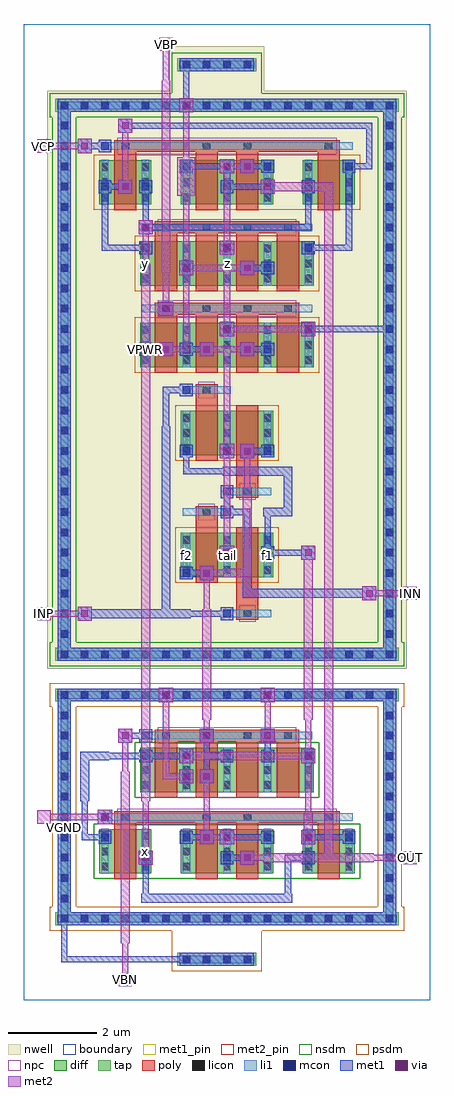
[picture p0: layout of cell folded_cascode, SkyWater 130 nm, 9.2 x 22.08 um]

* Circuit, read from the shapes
.subckt folded_cascode INN INP OUT VBN VBP VCN VCP VGND VPWR f1 f2 tail x y z
XM1 x VCN f1 VGND sky130_fd_pr__nfet_01v8 w=1 l=0.5 m=2
XM2 VGND VBN f1 VGND sky130_fd_pr__nfet_01v8 w=1 l=0.5 m=2
XM3 OUT VCN f2 VGND sky130_fd_pr__nfet_01v8 w=1 l=0.5 m=2
XM4 f2 VBN VGND VGND sky130_fd_pr__nfet_01v8 w=1 l=0.5 m=2
XM5 x VCP y VPWR sky130_fd_pr__pfet_01v8 w=1 l=0.5 m=2
XM6 tail VBP VPWR VPWR sky130_fd_pr__pfet_01v8 w=1 l=0.5 m=4
XM7 VPWR x y VPWR sky130_fd_pr__pfet_01v8 w=1 l=0.5 m=2
XM8 tail INN f2 VPWR sky130_fd_pr__pfet_01v8 w=1 l=0.5 m=2
XM9 tail INP f1 VPWR sky130_fd_pr__pfet_01v8 w=1 l=0.5 m=2
XM10 z x VPWR VPWR sky130_fd_pr__pfet_01v8 w=1 l=0.5 m=2
XM11 OUT VCP z VPWR sky130_fd_pr__pfet_01v8 w=1 l=0.5 m=2
.ends

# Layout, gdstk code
import gdstk
lib = gdstk.Library(unit=1e-6, precision=1e-09)
def R(c, l, rs):  # rectangles x0, y0, x1, y1
    for r in rs: c.add(gdstk.rectangle(r[:2], r[2:], *l))
def A(c, l, x, y, w, h, nx, ny, dx, dy):  # array of equal rectangles
    R(c, l, [(x+i*dx, y+j*dy, x+i*dx+w, y+j*dy+h) for i in range(nx) for j in range(ny)])
nwell = (64, 20)
diff = (65, 20)
tap = (65, 44)
poly = (66, 20)
licon = (66, 44)
li1 = (67, 20)
mcon = (67, 44)
met1_pin = (68, 16)
met1 = (68, 20)
via = (68, 44)
met2_pin = (69, 16)
met2 = (69, 20)
nsdm = (93, 44)
psdm = (94, 20)
npc = (95, 20)
boundary = (235, 4)

folded_cascode = lib.new_cell('folded_cascode')
R(folded_cascode, nwell, [(0.535,7.495,8.665,20.565), (3.295,20.565,5.445,21.58)])
R(folded_cascode, diff, [(1.715,2.865,2.885,3.865), (3.555,2.865,5.645,3.865), (6.315,2.865,7.485,3.865), (2.635,4.705,6.565,5.705), (3.555,9.565,5.645,10.565), (3.555,12.325,5.645,13.325), (2.635,14.32,6.565,15.32), (2.635,16.16,6.565,17.16), (1.715,18,2.885,19), (3.555,18,5.645,19), (6.315,18,7.485,19)])
R(folded_cascode, tap, [(3.475,0.775,5.265,1.065), (0.715,1.695,8.485,1.985), (0.775,1.695,1.065,7.045), (8.135,1.695,8.425,7.045), (0.715,6.755,8.485,7.045), (0.715,7.675,8.485,7.965), (0.775,7.675,1.065,20.385), (8.135,7.675,8.425,20.385), (0.715,20.095,8.485,20.385), (3.475,21.015,5.265,21.305)])
A(folded_cascode, poly, 2.97, 4.575, 0.5, 1.405, 4, 1, 0.92, 0)
A(folded_cascode, poly, 2.97, 14.19, 0.5, 1.45, 4, 2, 0.92, 1.84)
R(folded_cascode, poly, [(2.05,2.735,2.55,4.14), (3.89,2.735,4.39,4.14), (4.81,2.735,5.31,4.14), (6.65,2.735,7.15,4.14), (2.05,4.005,7.15,4.275), (2.97,5.845,6.23,6.115), (4.81,8.605,5.31,8.875), (4.81,8.74,5.31,10.695), (3.89,9.435,4.39,11.04), (3.89,10.905,4.39,11.175), (4.81,11.365,5.31,11.635), (4.81,11.5,5.31,13.455), (3.89,12.195,4.39,13.8), (3.89,13.665,4.39,13.935), (2.97,15.505,6.23,15.775), (2.97,17.345,6.23,17.615), (2.05,17.87,2.55,19.32), (3.89,17.87,4.39,19.32), (4.81,17.87,5.31,19.32), (6.65,17.87,7.15,19.32), (2.05,19.185,7.15,19.455)])
A(folded_cascode, licon, 3.595, 0.835, 0.17, 0.17, 4, 2, 0.46, 20.24)
A(folded_cascode, licon, 0.835, 1.755, 0.17, 0.17, 17, 2, 0.46, 5.06)
A(folded_cascode, licon, 0.835, 2.215, 0.17, 0.17, 1, 10, 0, 0.46)
A(folded_cascode, licon, 8.195, 2.215, 0.17, 0.17, 1, 10, 0, 0.46)
A(folded_cascode, licon, 1.755, 2.94, 0.17, 0.17, 7, 3, 0.92, 0.34)
A(folded_cascode, licon, 2.675, 4.78, 0.17, 0.17, 5, 3, 0.92, 0.34)
A(folded_cascode, licon, 3.135, 5.895, 0.17, 0.17, 4, 2, 0.92, 9.66)
A(folded_cascode, licon, 0.835, 7.735, 0.17, 0.17, 17, 2, 0.46, 12.42)
A(folded_cascode, licon, 0.835, 8.195, 0.17, 0.17, 1, 26, 0, 0.46)
A(folded_cascode, licon, 8.195, 8.195, 0.17, 0.17, 1, 26, 0, 0.46)
A(folded_cascode, licon, 3.595, 9.64, 0.17, 0.17, 3, 3, 0.92, 0.34)
A(folded_cascode, licon, 3.595, 12.4, 0.17, 0.17, 3, 3, 0.92, 0.34)
A(folded_cascode, licon, 2.675, 14.395, 0.17, 0.17, 5, 3, 0.92, 0.34)
A(folded_cascode, licon, 2.675, 16.235, 0.17, 0.17, 5, 3, 0.92, 0.34)
A(folded_cascode, licon, 3.135, 17.395, 0.17, 0.17, 4, 1, 0.92, 0)
A(folded_cascode, licon, 1.755, 18.075, 0.17, 0.17, 7, 3, 0.92, 0.34)
R(folded_cascode, licon, [(2.215,4.055,2.385,4.225), (4.055,4.055,4.225,4.225), (4.975,4.055,5.145,4.225), (6.815,4.055,6.985,4.225), (4.975,8.655,5.145,8.825), (4.055,10.955,4.225,11.125), (4.975,11.415,5.145,11.585), (4.055,13.715,4.225,13.885), (2.215,19.235,2.385,19.405), (4.055,19.235,4.225,19.405), (4.975,19.235,5.145,19.405), (6.815,19.235,6.985,19.405)])
A(folded_cascode, li1, 1.755, 2.86, 0.17, 1.01, 7, 2, 0.92, 15.135)
A(folded_cascode, li1, 2.675, 4.7, 0.17, 1.01, 5, 2, 0.92, 9.615)
A(folded_cascode, li1, 3.595, 9.56, 0.17, 1.01, 3, 2, 0.92, 2.76)
A(folded_cascode, li1, 2.675, 16.155, 0.17, 1.01, 5, 1, 0.92, 0)
R(folded_cascode, li1, [(3.515,0.835,5.225,1.005), (0.755,1.755,8.445,1.925), (0.835,1.755,1.005,6.985), (8.195,1.755,8.365,6.985), (1.755,4.055,7.445,4.225), (2.675,5.895,6.525,6.065), (0.755,6.815,8.445,6.985), (0.755,7.735,8.445,7.905), (0.835,7.735,1.005,20.325), (8.195,7.735,8.365,20.325), (4.515,8.655,5.605,8.825), (3.595,10.955,4.685,11.125), (4.515,11.415,5.605,11.585), (3.595,13.715,4.685,13.885), (2.675,15.555,6.525,15.725), (2.675,17.395,6.525,17.565), (1.755,19.235,7.445,19.405), (0.755,20.155,8.445,20.325), (3.515,21.075,5.225,21.245)])
A(folded_cascode, mcon, 3.595, 0.835, 0.17, 0.17, 4, 2, 0.46, 20.24)
A(folded_cascode, mcon, 0.835, 1.755, 0.17, 0.17, 17, 2, 0.46, 5.06)
A(folded_cascode, mcon, 0.835, 3.135, 0.17, 0.17, 5, 2, 1.84, 13.8)
A(folded_cascode, mcon, 0.835, 3.595, 0.17, 0.17, 1, 4, 0, 0.46)
A(folded_cascode, mcon, 1.755, 3.595, 0.17, 0.17, 4, 1, 1.84, 0)
A(folded_cascode, mcon, 8.195, 3.595, 0.17, 0.17, 1, 7, 0, 0.46)
A(folded_cascode, mcon, 0.835, 5.435, 0.17, 0.17, 3, 1, 1.84, 0)
A(folded_cascode, mcon, 5.435, 5.435, 0.17, 0.17, 1, 3, 0, 4.6)
A(folded_cascode, mcon, 0.835, 7.735, 0.17, 0.17, 17, 2, 0.46, 12.42)
A(folded_cascode, mcon, 0.835, 8.655, 0.17, 0.17, 3, 2, 3.68, 2.3)
A(folded_cascode, mcon, 0.835, 9.115, 0.17, 0.17, 1, 4, 0, 0.46)
A(folded_cascode, mcon, 8.195, 9.115, 0.17, 0.17, 1, 4, 0, 0.46)
A(folded_cascode, mcon, 0.835, 11.415, 0.17, 0.17, 3, 1, 3.68, 0)
A(folded_cascode, mcon, 0.835, 11.875, 0.17, 0.17, 1, 11, 0, 0.46)
A(folded_cascode, mcon, 8.195, 11.875, 0.17, 0.17, 1, 7, 0, 0.46)
A(folded_cascode, mcon, 3.595, 12.335, 0.17, 0.17, 3, 1, 0.92, 0)
A(folded_cascode, mcon, 4.515, 15.095, 0.17, 0.17, 3, 2, 1.84, 3.22)
A(folded_cascode, mcon, 8.195, 15.555, 0.17, 0.17, 1, 3, 0, 0.46)
A(folded_cascode, mcon, 0.835, 18.315, 0.17, 0.17, 3, 1, 0.92, 0)
A(folded_cascode, mcon, 0.835, 18.775, 0.17, 0.17, 1, 3, 0, 0.46)
A(folded_cascode, mcon, 3.595, 18.775, 0.17, 0.17, 3, 1, 1.84, 0)
A(folded_cascode, mcon, 8.195, 18.775, 0.17, 0.17, 1, 3, 0, 0.46)
R(folded_cascode, mcon, [(0.835,2.215,1.005,2.385), (8.195,2.215,8.365,2.385), (0.835,2.675,1.005,2.845), (8.195,2.675,8.365,2.845), (1.755,4.055,1.925,4.225), (3.595,4.975,3.765,5.145), (6.355,5.435,6.525,5.605), (0.835,5.895,1.005,6.065), (2.675,5.895,2.845,6.065), (0.835,6.355,1.005,6.525), (0.835,8.195,1.005,8.365), (8.195,8.195,8.365,8.365), (3.595,9.575,3.765,9.745), (4.515,10.035,4.685,10.205), (3.595,13.715,3.765,13.885), (2.675,14.635,2.845,14.805), (3.595,14.635,3.765,14.805), (3.135,15.555,3.305,15.725), (3.595,16.475,3.765,16.645), (5.435,16.475,5.605,16.645), (0.835,17.395,1.005,17.565), (2.675,17.395,2.845,17.565), (8.195,17.395,8.365,17.565), (0.835,17.855,1.005,18.025), (8.195,17.855,8.365,18.025), (1.755,19.235,1.925,19.405)])
R(folded_cascode, met1_pin, [(0.85,0.85,0.99,6.97), (2.615,14.575,2.905,14.865)])
A(folded_cascode, met1, 2.615, 3.075, 0.29, 0.29, 3, 2, 1.84, 13.8)
A(folded_cascode, met1, 1.695, 3.535, 0.29, 0.29, 4, 1, 1.84, 0)
A(folded_cascode, met1, 4.455, 5.375, 0.29, 0.29, 3, 1, 0.92, 0)
A(folded_cascode, met1, 3.535, 12.275, 0.29, 0.29, 3, 1, 0.92, 0)
A(folded_cascode, met1, 3.06, 14.56, 0.32, 0.32, 3, 1, 0.92, 0)
A(folded_cascode, met1, 4.44, 15.02, 0.32, 0.32, 1, 3, 0, 1.84)
A(folded_cascode, met1, 2.615, 18.255, 0.29, 0.29, 3, 1, 1.84, 0)
A(folded_cascode, met1, 3.535, 18.715, 0.29, 0.29, 3, 1, 1.84, 0)
R(folded_cascode, met1, [(3.535,0.775,5.205,1.065), (0.85,0.85,0.99,6.97), (0.85,0.85,3.75,0.99), (3.61,0.85,3.75,0.99), (0.775,1.695,8.425,1.985), (0.775,1.695,1.065,7.045), (8.135,1.695,8.425,7.045), (2.66,2.2,6.08,2.4), (2.69,2.23,2.83,3.29), (5.91,2.23,6.05,3.29), (2.6,3.06,2.92,3.38), (4.9,3.06,5.22,3.38), (4.53,3.15,5.13,3.29), (5.91,3.15,6.51,3.29), (3.98,3.52,4.3,3.84), (4.44,3.52,4.76,3.84), (6.28,3.52,6.6,3.84), (1.31,3.61,1.45,4.67), (1.31,3.61,1.91,3.75), (3.61,3.61,4.21,3.75), (4.53,3.61,5.59,3.75), (6.37,3.61,7.43,3.75), (1.68,3.98,2,4.3), (1.695,3.995,1.985,4.285), (1.28,4.5,1.48,5.62), (3.52,4.9,3.84,5.22), (3.98,4.9,4.3,5.22), (3.535,4.915,3.825,5.205), (4.07,4.99,4.21,5.59), (3.52,5.36,3.84,5.68), (6.28,5.36,6.6,5.68), (2.615,5.375,2.905,5.665), (1.28,5.42,1.94,5.62), (1.77,5.45,2.83,5.59), (2.69,5.45,3.75,5.59), (4.07,5.45,4.67,5.59), (4.07,5.45,4.21,6.05), (5.45,5.45,5.59,6.05), (2.14,5.82,2.46,6.14), (3.98,5.82,4.3,6.14), (5.36,5.82,5.68,6.14), (2.615,5.835,2.905,6.125), (2.23,5.91,2.83,6.05), (3.06,6.74,3.38,7.06), (5.36,6.74,5.68,7.06), (0.775,6.755,8.425,7.045), (0.85,6.83,3.29,6.97), (0.85,6.83,0.99,6.97), (3.15,6.83,5.59,6.97), (3.15,6.83,3.29,6.97), (0.775,7.675,8.425,7.965), (0.775,7.675,1.065,20.385), (8.135,7.675,8.425,20.385), (1.22,8.58,1.54,8.9), (4.455,8.595,4.745,8.885), (1.28,8.64,3.78,8.84), (3.12,8.64,3.32,12.98), (3.61,8.67,4.67,8.81), (7.66,9.04,7.98,9.36), (4.96,9.1,5.16,10.22), (4.96,9.1,7.92,9.3), (3.98,9.5,4.3,9.82), (3.535,9.515,3.825,9.805), (3.61,9.59,4.21,9.73), (4.44,9.96,4.76,10.28), (6.28,9.96,6.6,10.28), (4.455,9.975,4.745,10.265), (5.375,9.975,5.665,10.265), (4.99,10.05,5.13,11.11), (5.45,10.05,5.59,11.11), (5.45,10.05,6.51,10.19), (4.455,10.895,4.745,11.185), (5.42,10.94,6.08,11.14), (5.88,10.94,6.08,12.06), (4.53,10.97,5.13,11.11), (4.53,10.97,4.67,11.57), (4.455,11.355,4.745,11.645), (4.5,11.86,6.08,12.06), (3.61,11.89,4.67,12.03), (3.61,11.89,3.75,12.49), (4.44,12.26,4.76,12.58), (4.9,12.26,5.22,12.58), (4.99,12.35,5.59,12.49), (3.15,12.81,3.29,13.87), (3.535,13.655,3.825,13.945), (3.15,13.73,3.75,13.87), (2.615,14.575,2.905,14.865), (3.535,14.575,3.825,14.865), (5.375,14.575,5.665,14.865), (2.69,14.65,3.29,14.79), (3.61,14.65,4.21,14.79), (4.99,14.65,5.59,14.79), (6.28,15.02,6.6,15.34), (4.455,15.035,4.745,15.325), (6.295,15.035,6.585,15.325), (6.37,15.11,8.35,15.25), (8.21,15.11,8.35,15.25), (3.06,15.48,3.38,15.8), (3.075,15.495,3.365,15.785), (3.52,16.4,3.84,16.72), (4.9,16.4,5.22,16.72), (3.535,16.415,3.825,16.705), (5.375,16.415,5.665,16.705), (4.99,16.49,5.59,16.63), (1.77,16.95,2.83,17.09), (1.77,16.95,1.91,18.47), (6.37,16.95,7.43,17.09), (7.29,16.95,7.43,18.93), (2.6,17.32,2.92,17.64), (2.615,17.335,2.905,17.625), (2.69,17.41,2.83,18.47), (2.69,17.41,6.51,17.55), (6.37,17.41,6.51,18.47), (2.14,18.24,2.46,18.56), (5.36,18.24,5.68,18.56), (1.695,18.255,1.985,18.545), (1.77,18.33,2.37,18.47), (4.53,18.33,5.59,18.47), (4.9,18.7,5.22,19.02), (3.61,18.79,4.67,18.93), (4.99,18.79,5.59,18.93), (7.29,18.79,7.89,18.93), (7.75,18.79,7.89,19.85), (1.22,19.16,1.54,19.48), (1.695,19.175,1.985,19.465), (1.31,19.25,1.91,19.39), (2.14,19.62,2.46,19.94), (2.23,19.71,7.89,19.85), (3.52,20.08,3.84,20.4), (0.775,20.095,8.425,20.385), (3.61,20.17,3.75,21.23), (3.61,20.17,3.75,20.31), (3.535,21.015,5.205,21.305), (3.61,21.09,3.75,21.23)])
A(folded_cascode, via, 3.145, 14.645, 0.15, 0.15, 3, 1, 0.92, 0)
A(folded_cascode, via, 4.525, 15.105, 0.15, 0.15, 1, 3, 0, 1.84)
R(folded_cascode, via, [(2.685,3.145,2.835,3.295), (4.985,3.145,5.135,3.295), (4.065,3.605,4.215,3.755), (4.525,3.605,4.675,3.755), (6.365,3.605,6.515,3.755), (1.765,4.065,1.915,4.215), (3.605,4.985,3.755,5.135), (4.065,4.985,4.215,5.135), (3.605,5.445,3.755,5.595), (6.365,5.445,6.515,5.595), (2.225,5.905,2.375,6.055), (4.065,5.905,4.215,6.055), (5.445,5.905,5.595,6.055), (3.145,6.825,3.295,6.975), (5.445,6.825,5.595,6.975), (1.305,8.665,1.455,8.815), (7.745,9.125,7.895,9.275), (4.065,9.585,4.215,9.735), (4.525,10.045,4.675,10.195), (6.365,10.045,6.515,10.195), (4.525,12.345,4.675,12.495), (4.985,12.345,5.135,12.495), (6.365,15.105,6.515,15.255), (3.145,15.565,3.295,15.715), (3.605,16.485,3.755,16.635), (4.985,16.485,5.135,16.635), (2.685,17.405,2.835,17.555), (2.225,18.325,2.375,18.475), (5.445,18.325,5.595,18.475), (4.985,18.785,5.135,18.935), (1.305,19.245,1.455,19.395), (2.225,19.705,2.375,19.855), (3.605,20.165,3.755,20.315)])
R(folded_cascode, met2_pin, [(2.15,0.31,2.45,0.61), (8.59,3.07,8.89,3.37), (0.31,3.99,0.61,4.29), (0.31,8.59,0.61,8.89), (8.59,9.05,8.89,9.35), (0.31,19.17,0.61,19.47), (3.07,21.47,3.37,21.77)])
A(folded_cascode, met2, 3.06, 14.56, 0.32, 0.32, 3, 1, 0.92, 0)
A(folded_cascode, met2, 4.44, 15.02, 0.32, 0.32, 1, 3, 0, 1.84)
R(folded_cascode, met2, [(2.15,0.31,2.45,0.61), (2.23,0.39,2.37,1.45), (2.23,0.39,2.37,0.53), (2.2,1.28,2.4,5.16), (2.6,3.06,2.92,3.38), (4.9,3.06,5.22,3.38), (8.59,3.07,8.89,3.37), (5.42,3.12,7.92,3.32), (6.8,3.12,7,18.5), (2.69,3.15,2.83,4.67), (4.99,3.15,5.59,3.29), (7.75,3.15,8.81,3.29), (8.67,3.15,8.81,3.29), (3.98,3.52,4.3,3.84), (4.44,3.52,4.76,3.84), (6.28,3.52,6.6,3.84), (6.34,3.58,6.54,4.24), (4.07,3.61,4.67,3.75), (4.07,3.61,4.21,5.13), (1.68,3.98,2,4.3), (0.31,3.99,0.61,4.29), (0.39,4.07,1.91,4.21), (0.39,4.07,0.53,4.21), (6.37,4.07,6.51,5.59), (2.66,4.5,2.86,16.66), (3.52,4.9,3.84,5.22), (3.98,4.9,4.3,5.22), (2.23,4.99,2.37,6.05), (3.15,4.99,3.75,5.13), (3.15,4.99,3.29,6.97), (3.52,5.36,3.84,5.68), (6.28,5.36,6.6,5.68), (3.58,5.42,5.62,5.62), (5.45,5.45,6.51,5.59), (6.37,5.45,6.51,6.51), (2.14,5.82,2.46,6.14), (3.98,5.82,4.3,6.14), (5.36,5.82,5.68,6.14), (4.07,5.91,4.21,6.51), (5.45,5.91,5.59,6.97), (4.04,6.34,4.24,8.84), (6.34,6.34,6.54,10.22), (3.06,6.74,3.38,7.06), (5.36,6.74,5.68,7.06), (1.22,8.58,1.54,8.9), (0.31,8.59,0.61,8.89), (0.39,8.67,0.53,8.81), (0.39,8.67,1.45,8.81), (4.07,8.67,4.21,9.73), (7.66,9.04,7.98,9.36), (8.59,9.05,8.89,9.35), (7.75,9.13,8.81,9.27), (8.67,9.13,8.81,9.27), (3.98,9.5,4.3,9.82), (4.5,9.56,5.16,9.76), (4.96,9.56,5.16,11.6), (4.07,9.59,4.67,9.73), (4.44,9.96,4.76,10.28), (6.28,9.96,6.6,10.28), (4.53,10.05,4.67,12.49), (4.99,11.43,5.13,12.49), (4.44,12.26,4.76,12.58), (4.9,12.26,5.22,12.58), (4.53,12.35,4.67,14.79), (3.15,14.65,3.75,14.79), (3.61,14.65,3.75,16.63), (4.07,14.65,4.67,14.79), (4.53,14.65,5.13,14.79), (6.28,15.02,6.6,15.34), (4.53,15.11,4.67,16.63), (4.53,15.11,6.51,15.25), (3.06,15.48,3.38,15.8), (3.15,15.57,3.29,16.63), (3.52,16.4,3.84,16.72), (4.9,16.4,5.22,16.72), (3.12,16.46,3.32,20.8), (2.69,16.49,2.83,17.55), (3.61,16.49,5.13,16.63), (3.61,16.49,3.75,18.47), (4.53,16.95,4.67,18.93), (2.6,17.32,2.92,17.64), (3.48,18.2,3.88,19.06), (2.14,18.24,2.46,18.56), (5.36,18.24,5.68,18.56), (5.42,18.3,7,18.5), (2.23,18.33,2.37,19.85), (4.9,18.7,5.22,19.02), (3.61,18.79,3.75,20.31), (4.53,18.79,5.13,18.93), (1.22,19.16,1.54,19.48), (0.31,19.17,0.61,19.47), (0.39,19.25,0.53,19.39), (0.39,19.25,1.45,19.39), (2.14,19.62,2.46,19.94), (3.52,20.08,3.84,20.4), (3.15,20.63,3.29,21.69), (3.07,21.47,3.37,21.77), (3.15,21.55,3.29,21.69)])
R(folded_cascode, nsdm, [(1.59,2.74,7.61,3.99), (2.51,4.58,6.69,5.83), (0.59,7.55,8.61,8.09), (0.65,8.09,1.19,19.97), (8.01,8.09,8.55,19.97), (0.59,19.97,8.61,20.51), (3.35,20.51,5.39,21.43)])
R(folded_cascode, psdm, [(3.35,0.65,5.39,1.57), (0.59,1.57,8.61,2.11), (0.65,2.11,1.19,6.63), (8.01,2.11,8.55,6.63), (0.59,6.63,8.61,7.17), (3.43,9.44,5.77,10.69), (3.43,12.2,5.77,13.45), (2.51,14.195,6.69,15.445), (2.51,16.035,6.69,17.285), (1.59,17.875,7.61,19.125)])
R(folded_cascode, npc, [(2.115,3.955,7.085,4.325), (3.035,5.795,6.165,6.165), (4.875,8.555,5.245,8.925), (3.955,10.855,4.325,11.225), (4.875,11.315,5.245,11.685), (3.955,13.615,4.325,13.985), (3.035,15.455,6.165,15.825), (3.035,17.295,6.165,17.665), (2.115,19.135,7.085,19.505)])
R(folded_cascode, boundary, [(0,0,9.2,22.08)])
folded_cascode.add(gdstk.Label('f2', (3.68,10.065), layer=67, texttype=5))
folded_cascode.add(gdstk.Label('tail', (4.6,10.065), layer=67, texttype=5))
folded_cascode.add(gdstk.Label('f1', (5.52,10.065), layer=67, texttype=5))
folded_cascode.add(gdstk.Label('x', (2.76,3.365), layer=67, texttype=5))
folded_cascode.add(gdstk.Label('y', (2.76,16.66), layer=67, texttype=5))
folded_cascode.add(gdstk.Label('z', (4.6,16.66), layer=67, texttype=5))
folded_cascode.add(gdstk.Label('VPWR', (2.76,14.72), layer=68, texttype=5))
folded_cascode.add(gdstk.Label('VGND', (0.92,3.91), layer=68, texttype=5))
folded_cascode.add(gdstk.Label('INP', (0.46,8.74), layer=69, texttype=5))
folded_cascode.add(gdstk.Label('INN', (8.74,9.2), layer=69, texttype=5))
folded_cascode.add(gdstk.Label('VBP', (3.22,21.62), layer=69, texttype=5))
folded_cascode.add(gdstk.Label('VBN', (2.3,0.46), layer=69, texttype=5))
folded_cascode.add(gdstk.Label('VCN', (0.46,4.14), layer=69, texttype=5))
folded_cascode.add(gdstk.Label('VCP', (0.46,19.32), layer=69, texttype=5))
folded_cascode.add(gdstk.Label('OUT', (8.74,3.22), layer=69, texttype=5))
folded_cascode.add(gdstk.Label('VPWR', (2.76,14.72), layer=68, texttype=16))
folded_cascode.add(gdstk.Label('VGND', (0.92,3.91), layer=68, texttype=16))
folded_cascode.add(gdstk.Label('INP', (0.46,8.74), layer=69, texttype=16))
folded_cascode.add(gdstk.Label('INN', (8.74,9.2), layer=69, texttype=16))
folded_cascode.add(gdstk.Label('VBP', (3.22,21.62), layer=69, texttype=16))
folded_cascode.add(gdstk.Label('VBN', (2.3,0.46), layer=69, texttype=16))
folded_cascode.add(gdstk.Label('VCN', (0.46,4.14), layer=69, texttype=16))
folded_cascode.add(gdstk.Label('VCP', (0.46,19.32), layer=69, texttype=16))
folded_cascode.add(gdstk.Label('OUT', (8.74,3.22), layer=69, texttype=16))

lib.write_gds('folded_cascode.gds')
